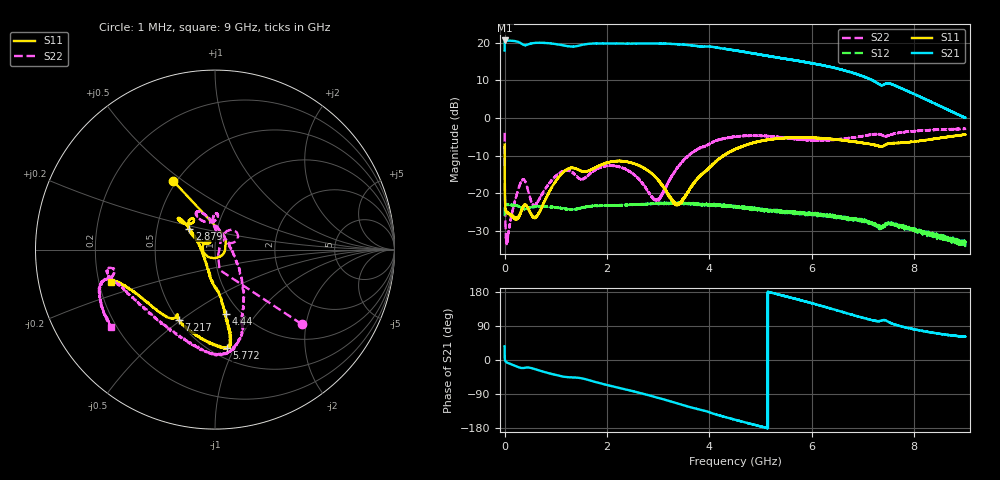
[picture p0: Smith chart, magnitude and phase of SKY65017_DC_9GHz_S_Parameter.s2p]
!Agilent Technologies,E8358A,US42080705,A.07.50.37
!Agilent E8358A: A.07.50.37
!Date: Wednesday, June 17, 2009 17:01:30
!Correction: S11(Full 2 Port(1,2))
!S21(Full 2 Port(1,2))
!S12(Full 2 Port(1,2))
!S22(Full 2 Port(1,2))
!S2P File: Measurements: S11, S21, S12, S22:
# Hz S  dB  R 50
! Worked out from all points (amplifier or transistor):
!   6401 points, 1 MHz to 9 GHz, reference 50 ohm
!   highest |S21| = 20.6 dB at 10.84 MHz (marker M1)
!   |S21| within 3 dB of that: start of sweep to 4.657 GHz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
!   unconditionally stable (mu >= 1): start of sweep to 4.009 GHz; 5.67625 GHz to 5.704005 GHz; 5.704 GHz to end of sweep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
!   at 1.5 GHz: K = 1.09, MAG = 19.8 dB, |S12| = -23.8 dB
!   at 4.5 GHz: K = 0.95, MSG = 20.7 dB, |S12| = -23.5 dB
!   at 9 GHz: K = 6.76, MAG = 5.3 dB, |S12| = -33.1 dB
!   S11 on the Smith chart (normalised r, x): 1 MHz: 0.48, +0.46; 2.879 GHz: 0.73, +0.18; 4.44 GHz: 0.86, -0.71; 5.772 GHz: 0.59, -0.94; 7.217 GHz: 0.51, -0.49; 9 GHz: 0.25, -0.14
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1000000  -6.99 121.3  17.92 36.2  -25.96 -140.3  -3.92 -40.7
1.084266e7  -22.08 39.8  20.60 -1.1  -23.01 178.8  -23.87 -71.9
5.443156e7  -25.33 -3.8  20.58 -7.0  -23.05 174.1  -32.90 14.0
2.808127e8  -25.94 -110.8  20.13 -19.4  -23.42 167.4  -18.35 57.3
4.692292e8  -24.16 127.4  19.59 -19.9  -23.83 171.7  -19.68 21.7
6.506153e8  -25.58 138.6  19.98 -26.4  -23.47 169.6  -22.20 71.1
1.002139e9  -16.72 147.7  19.64 -39.7  -23.70 164.9  -15.35 93.7
1.501302e9  -14.09 126.6  19.38 -48.1  -23.80 168.2  -16.25 98.3
2.035618e9  -11.73 140.7  19.80 -67.2  -23.23 161.8  -12.73 116.1
2.879274e9  -14.71 140.7  19.79 -95.4  -22.78 153.1  -20.95 56.1
3.001604e9  -16.55 145.4  19.77 -99.8  -22.68 150.5  -21.67 16.2
3.637158e9  -18.38 -109.0  19.30 -124.7  -22.93 139.9  -9.49 -62.1
4.089921e9  -12.01 -84.0  18.85 -142.1  -23.15 133.9  -6.21 -71.8
4.440038e9  -8.74 -80.5  18.11 -155.3  -23.48 127.6  -5.06 -79.2
4.5005e9  -8.23 -80.6  17.97 -157.6  -23.47 126.9  -4.92 -80.0
5.771609e9  -5.15 -83.0  15.08 158.3  -24.85 112.1  -5.74 -112.9
6.000802e9  -5.24 -84.9  14.56 150.0  -25.68 109.1  -5.80 -123.0
6.601204e9  -5.87 -96.7  12.81 126.6  -26.68 99.6  -5.53 -149.3
7.217073e9  -7.15 -117.2  9.78 103.9  -28.11 92.0  -4.30 -166.2
7.501104e9  -6.76 -124.1  9.25 100.3  -27.90 91.7  -4.54 -165.5
8.06776e9  -6.12 -148.5  5.97 79.2  -30.46 81.8  -3.38 -161.4
9e9  -4.37 -162.8  0.07 61.6  -33.09 73.9  -2.84 -143.3
